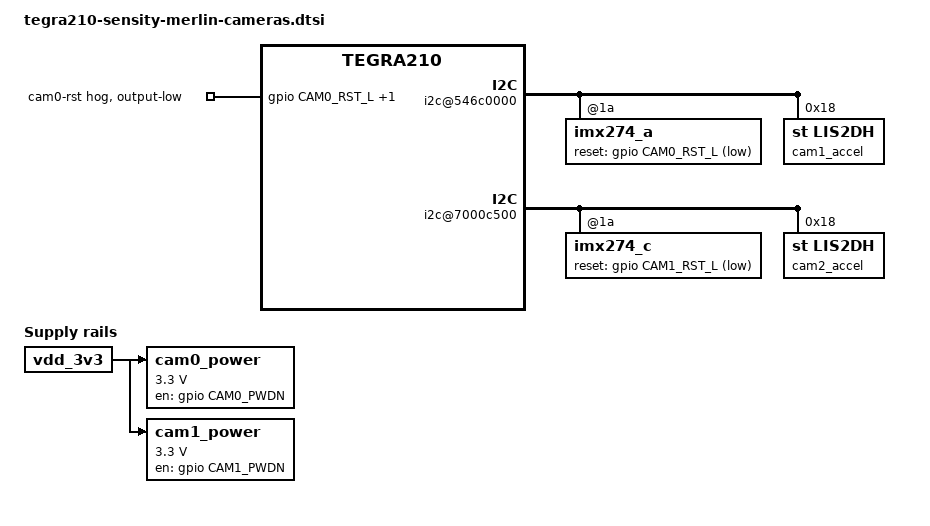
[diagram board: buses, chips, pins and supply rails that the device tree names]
/*
 * Copyright (c) 2015-2016, NVIDIA CORPORATION.  All rights reserved.
 * Copyright (c) 2017 Verizon Communications, Inc.  All right reserved.
 *
 * This program is free software; you can redistribute it and/or modify
 * it under the terms of the GNU General Public License as published by
 * the Free Software Foundation; either version 2 of the License, or
 * (at your option) any later version.
 *
 * This program is distributed in the hope that it will be useful, but WITHOUT
 * ANY WARRANTY; without even the implied warranty of MERCHANTABILITY or
 * FITNESS FOR A PARTICULAR PURPOSE.  See the GNU General Public License for
 * more details.
 *
 * You should have received a copy of the GNU General Public License
 * along with this program.  If not, see <http://www.gnu.org/licenses/>.
 */
#include "tegra210-camera-sensity-imx274.dtsi"

#define CAM0_RST_L	TEGRA_GPIO(S, 4)
#define CAM0_PWDN	TEGRA_GPIO(S, 7)
#define CAM1_RST_L	TEGRA_GPIO(S, 5)
#define CAM1_PWDN	TEGRA_GPIO(T, 0)

/{
	host1x {
		i2c@546c0000 {
			imx274_a@1a {
				clocks = <&tegra_car TEGRA210_CLK_CLK_OUT_3>;
				clock-names = "clk_out_3";
				mclk = "clk_out_3";
				reset-gpios = <&gpio CAM0_RST_L GPIO_ACTIVE_LOW>;
			};
			cam1_accel: lis2dh@18 {
				compatible = "st,lis2dh";
				reg = <0x18>;
				#io-channel-cells = <1>;
			};
		};
	};

	i2c@7000c500 {
		imx274_c@1a {
			clocks = <&tegra_car TEGRA210_CLK_CLK_OUT_3>;
			clock-names = "clk_out_3";
			mclk = "clk_out_3";
			reset-gpios = <&gpio CAM1_RST_L GPIO_ACTIVE_LOW>;
		};
		cam2_accel: lis2dh@18 {
			compatible = "st,lis2dh";
			reg = <0x18>;
			#io-channel-cells = <1>;
		};
	};

	gpio: gpio@6000d000 {
		camera-control-output-low {
			gpio-hog;
			output-low;
			gpios = <
				CAM0_RST_L 0
				CAM1_RST_L 0
				>;
			label = "cam0-rst", "cam1-rst";
		};
	};

	regulators {
		cam0_power: regulator@90 {
			compatible = "regulator-fixed";
			regulator-name = "cam0-regulator";
			regulator-min-microvolt = <3300000>;
			regulator-max-microvolt = <3300000>;
			gpio = <&gpio CAM0_PWDN GPIO_ACTIVE_HIGH>;
			enable-active-high;
			regulator-always-on;
			regulator-disable-on-shutdown;
			vin-supply = <&vdd_3v3>;
			consumers {
				c1 {
					regulator-consumer-supply = "vdd";
					regulator-consumer-device = "6-0018";
				};
				c2 {
					regulator-consumer-supply = "vdd";
					regulator-consumer-device = "6-001a";
				};
			};
		};
		cam1_power: regulator@91 {
			compatible = "regulator-fixed";
			regulator-name = "cam1-regulator";
			regulator-min-microvolt = <3300000>;
			regulator-max-microvolt = <3300000>;
			gpio = <&gpio CAM1_PWDN GPIO_ACTIVE_HIGH>;
			enable-active-high;
			regulator-always-on;
			regulator-disable-on-shutdown;
			vin-supply = <&vdd_3v3>;
			consumers {
				c1 {
					regulator-consumer-supply = "vdd";
					regulator-consumer-device = "2-0018";
				};
				c2 {
					regulator-consumer-supply = "vdd";
					regulator-consumer-device = "2-001a";
				};
			};
		};
	};
};
